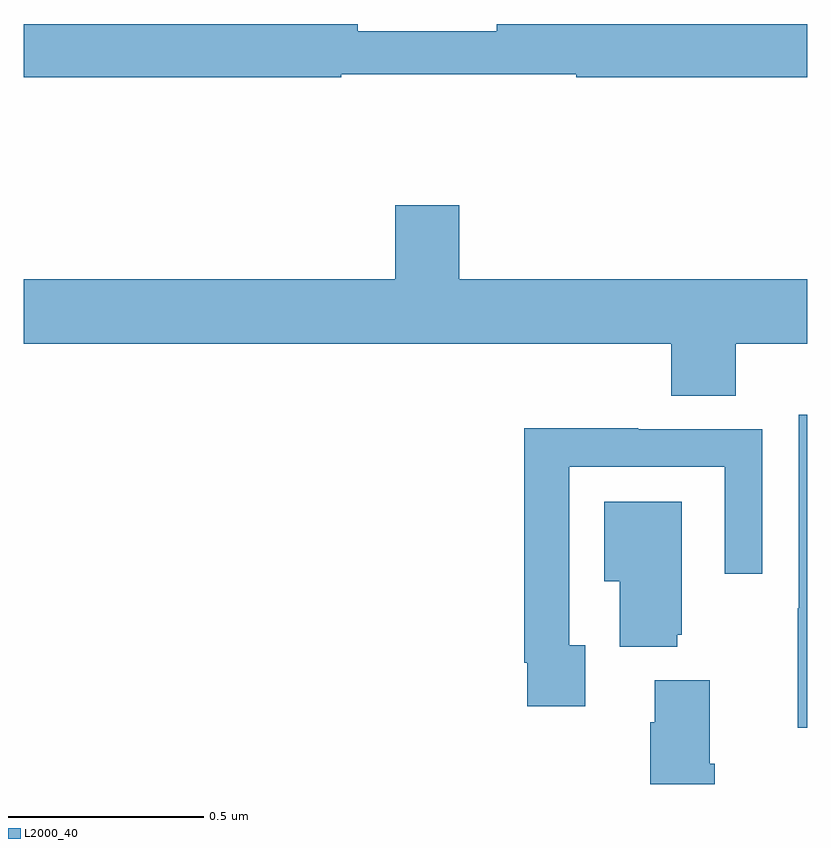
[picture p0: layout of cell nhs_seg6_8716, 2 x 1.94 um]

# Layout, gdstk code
import gdstk
lib = gdstk.Library(unit=1e-6, precision=1e-09)
def P(c, l, *ps):  # polygons
    for p in ps: c.add(gdstk.Polygon(p, *l))
L2000_40 = (2000, 40)

nhs_seg6_8716 = lib.new_cell('nhs_seg6_8716')
P(nhs_seg6_8716, L2000_40, [(224.81,993.312),(225.41,993.312),(225.41,993.304),(226,993.304),(226,993.44),(225.208,993.44),(225.208,993.421),(224.852,993.421),(224.852,993.44),(224,993.44),(224,993.304),(224.81,993.304)],
  [(225.818,992.624),(226,992.624),(226,992.788),(225.112,992.788),(225.112,992.977),(224.948,992.977),(224.948,992.788),(224,992.788),(224,992.624),(225.653,992.624),(225.653,992.491),(225.818,992.491)],
  [(226,992.443),(225.978,992.443),(225.978,991.949),(225.976,991.949),(225.976,991.643),(226,991.643)],
  [(225.433,991.854),(225.393,991.854),(225.393,992.31),(225.789,992.31),(225.789,992.037),(225.885,992.037),(225.885,992.406),(225.569,992.406),(225.569,992.408),(225.277,992.408),(225.277,991.81),(225.285,991.81),(225.285,991.698),(225.433,991.698)],
  [(225.668,991.881),(225.679,991.881),(225.679,992.221),(225.482,992.221),(225.482,992.018),(225.521,992.018),(225.521,991.85),(225.668,991.85)],
  [(225.764,991.552),(225.751,991.552),(225.751,991.765),(225.611,991.765),(225.611,991.658),(225.599,991.658),(225.599,991.5),(225.764,991.5)])

lib.write_gds('nhs_seg6_8716.gds')
